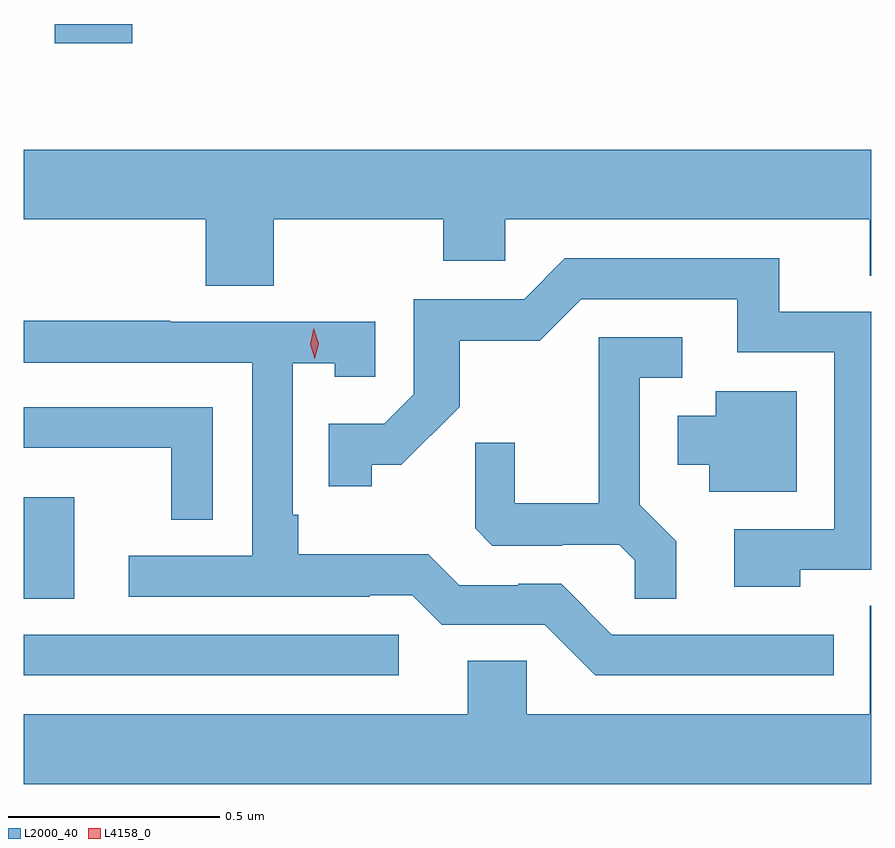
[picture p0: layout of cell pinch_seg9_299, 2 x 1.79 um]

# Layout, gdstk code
import gdstk
lib = gdstk.Library(unit=1e-6, precision=1e-09)
def R(c, l, rs):  # rectangles x0, y0, x1, y1
    for r in rs: c.add(gdstk.rectangle(r[:2], r[2:], *l))
def P(c, l, *ps):  # polygons
    for p in ps: c.add(gdstk.Polygon(p, *l))
L2000_40 = (2000, 40)
L4158_0 = (4158, 0)

pinch_seg9_299 = lib.new_cell('pinch_seg9_299')
R(pinch_seg9_299, L2000_40, [(442.759,1191.348,443.644,1191.444), (442.759,1191.529,442.879,1191.768), (442.832,1192.839,443.015,1192.885)])
P(pinch_seg9_299, L2000_40, [(443.349,1192.424),(443.749,1192.424),(443.749,1192.326),(443.895,1192.326),(443.895,1192.424),(444.755,1192.424),(444.755,1192.291),(444.759,1192.291),(444.759,1192.588),(442.759,1192.588),(442.759,1192.424),(443.189,1192.424),(443.189,1192.267),(443.349,1192.267)],
  [(444.591,1191.597),(444.759,1191.597),(444.759,1192.206),(444.542,1192.206),(444.542,1192.332),(444.036,1192.332),(443.94,1192.236),(443.679,1192.236),(443.679,1192.011),(443.61,1191.942),(443.479,1191.942),(443.479,1191.795),(443.58,1191.795),(443.58,1191.845),(443.65,1191.845),(443.788,1191.982),(443.788,1192.138),(443.977,1192.138),(444.075,1192.236),(444.443,1192.236),(444.443,1192.11),(444.672,1192.11),(444.672,1191.693),(444.435,1191.693),(444.435,1191.557),(444.591,1191.557)],
  [(444.67,1191.444),(444.147,1191.444),(444.027,1191.564),(443.926,1191.564),(443.926,1191.561),(443.787,1191.561),(443.714,1191.634),(443.407,1191.634),(443.407,1191.727),(443.394,1191.727),(443.394,1192.085),(443.493,1192.085),(443.493,1192.053),(443.589,1192.053),(443.589,1192.182),(443.105,1192.182),(443.105,1192.185),(442.759,1192.185),(442.759,1192.086),(443.298,1192.086),(443.298,1191.63),(443.007,1191.63),(443.007,1191.534),(443.576,1191.534),(443.576,1191.537),(443.676,1191.537),(443.745,1191.468),(443.988,1191.468),(444.108,1191.348),(444.67,1191.348)],
  [(444.299,1191.665),(444.213,1191.751),(444.213,1192.05),(444.313,1192.05),(444.313,1192.146),(444.116,1192.146),(444.116,1191.754),(443.918,1191.754),(443.918,1191.897),(443.824,1191.897),(443.824,1191.695),(443.865,1191.654),(444.03,1191.654),(444.03,1191.657),(444.164,1191.657),(444.201,1191.62),(444.201,1191.529),(444.299,1191.529)],
  [(444.583,1192.018),(444.392,1192.018),(444.392,1191.961),(444.302,1191.961),(444.302,1191.845),(444.377,1191.845),(444.377,1191.782),(444.583,1191.782)],
  [(443.205,1191.981),(442.759,1191.981),(442.759,1191.885),(443.107,1191.885),(443.107,1191.715),(443.205,1191.715)],
  [(444.759,1191.512),(444.755,1191.512),(444.755,1191.256),(443.946,1191.256),(443.946,1191.383),(443.807,1191.383),(443.807,1191.256),(442.759,1191.256),(442.759,1191.092),(444.759,1191.092)])
P(pinch_seg9_299, L4158_0, [(443.446,1192.095),(443.446,1192.095),(443.435,1192.13),(443.443,1192.167),(443.444,1192.167),(443.444,1192.167),(443.455,1192.131),(443.446,1192.095)])

lib.write_gds('pinch_seg9_299.gds')
